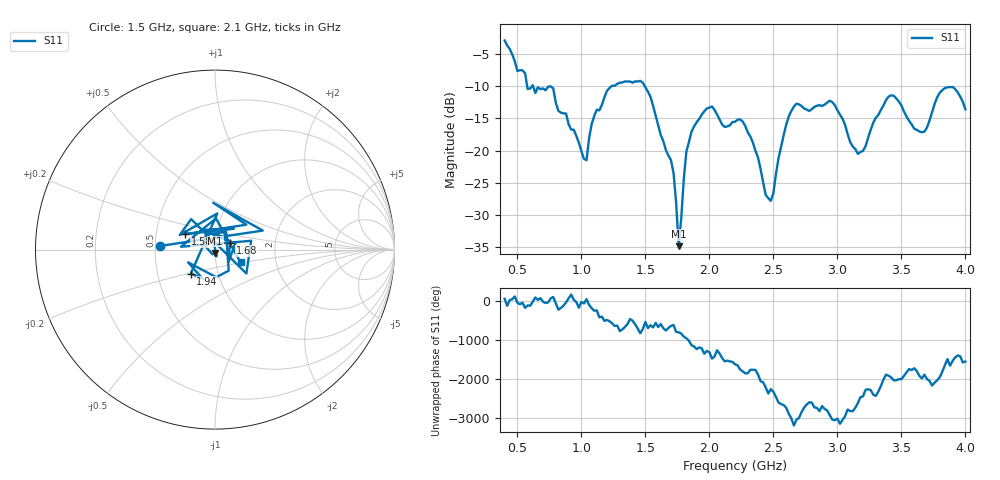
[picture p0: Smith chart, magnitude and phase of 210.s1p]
!Created with skrf (http://scikit-rf.org).
# Hz S RI R 50.0
!freq ReS11 ImS11
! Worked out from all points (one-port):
!   181 points, 400 MHz to 4 GHz, reference 50 ohm
!   lowest |S11| = -34.8 dB at 1.76 GHz (marker M1), VSWR 1.04, Z = 50.1 - j1.81 ohm
!   |S11| at or under -10 dB: 576.4 MHz to 613.7 MHz (37.26 MHz wide, 6.26 % of centre); 622.7 MHz to 1.235 GHz (612.5 MHz wide, 65.9 % of centre); 1.495 GHz to end of sweep
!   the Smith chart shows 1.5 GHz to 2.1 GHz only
!   S11 on the Smith chart (normalised r, x): 1.5 GHz: 0.53, +0.02; 1.58 GHz: 0.71, +0.13; 1.68 GHz: 1.18, +0.09; 1.94 GHz: 0.74, -0.20; 2.1 GHz: 1.32, -0.19
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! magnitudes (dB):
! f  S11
! 400 MHz  -2.9
! 580 MHz  -10.4
! 760 MHz  -10.0
! 860 MHz  -14.2
! 1.04 GHz  -21.5
! 1.12 GHz  -13.7
! 1.3 GHz  -9.5
! 1.5 GHz  -10.2
! 1.58 GHz  -14.5
! 1.68 GHz  -20.8
! 1.72 GHz  -23.5
! 1.76 GHz  -34.8
! 1.82 GHz  -20.1
! 1.94 GHz  -14.4
! 2.1 GHz  -16.0
! 2.2 GHz  -15.5
! 2.32 GHz  -17.8
! 2.48 GHz  -27.8
! 2.6 GHz  -16.0
! 2.66 GHz  -13.2
! 2.96 GHz  -12.5
! 3.1 GHz  -18.7
! 3.2 GHz  -20.0
! 3.42 GHz  -11.4
! 3.56 GHz  -15.4
! 3.68 GHz  -17.1
! 3.86 GHz  -10.2
! 4 GHz  -13.6
